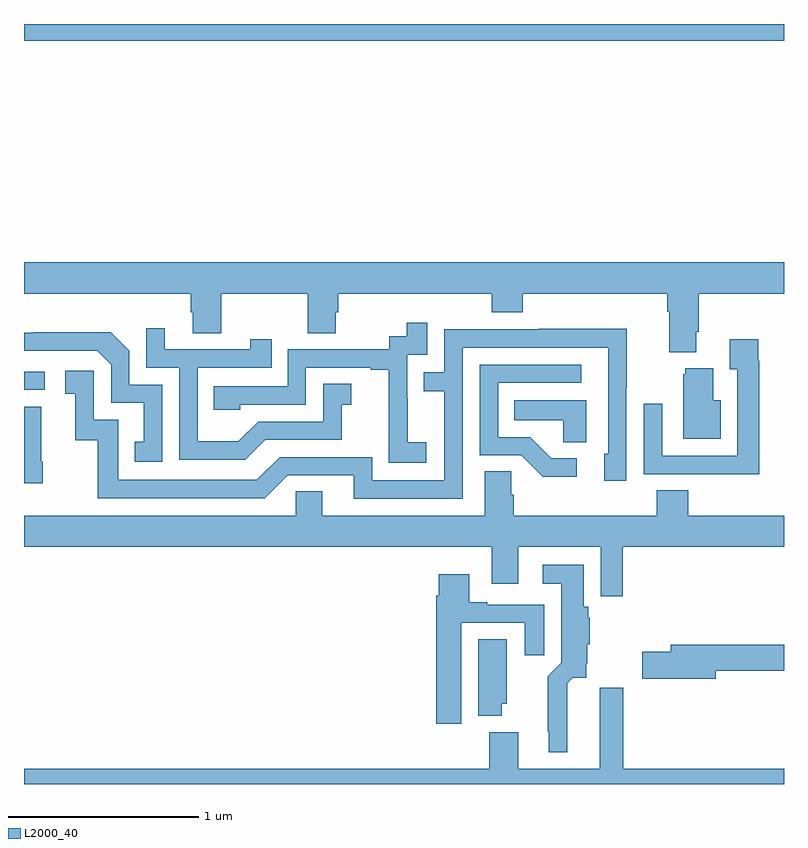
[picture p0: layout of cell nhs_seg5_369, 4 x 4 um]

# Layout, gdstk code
import gdstk
lib = gdstk.Library(unit=1e-6, precision=1e-09)
def R(c, l, rs):  # rectangles x0, y0, x1, y1
    for r in rs: c.add(gdstk.rectangle(r[:2], r[2:], *l))
def P(c, l, *ps):  # polygons
    for p in ps: c.add(gdstk.Polygon(p, *l))
L2000_40 = (2000, 40)

nhs_seg5_369 = lib.new_cell('nhs_seg5_369')
R(nhs_seg5_369, L2000_40, [(133,902.874,133.108,902.97), (133,904.712,137,904.799)])
P(nhs_seg5_369, L2000_40, [(136.537,903.178),(136.55,903.178),(136.55,903.38),(137,903.38),(137,903.544),(133,903.544),(133,903.38),(133.877,903.38),(133.877,903.282),(133.889,903.282),(133.889,903.172),(134.037,903.172),(134.037,903.38),(134.494,903.38),(134.494,903.172),(134.641,903.172),(134.641,903.282),(134.654,903.282),(134.654,903.38),(135.461,903.38),(135.461,903.281),(135.626,903.281),(135.626,903.38),(136.385,903.38),(136.385,903.284),(136.397,903.284),(136.397,903.071),(136.537,903.071)],
  [(135.118,902.599),(135.02,902.599),(135.02,902.828),(135.018,902.828),(135.018,903.057),(135.123,903.057),(135.123,903.226),(135.015,903.226),(135.015,903.156),(134.922,903.156),(134.922,903.087),(134.388,903.087),(134.388,902.892),(133.999,902.892),(133.999,902.769),(134.139,902.769),(134.139,902.796),(134.484,902.796),(134.484,902.991),(134.825,902.991),(134.825,902.979),(134.921,902.979),(134.921,902.695),(134.92,902.695),(134.92,902.489),(135.118,902.489)],
  [(134.269,902.61),(134.673,902.61),(134.673,902.795),(134.722,902.795),(134.722,902.905),(134.574,902.905),(134.574,902.706),(134.232,902.706),(134.128,902.602),(133.914,902.602),(133.914,902.991),(134.303,902.991),(134.303,903.139),(134.192,903.139),(134.192,903.087),(133.741,903.087),(133.741,903.199),(133.644,903.199),(133.644,902.991),(133.818,902.991),(133.818,902.505),(134.164,902.505)],
  [(135.309,903.096),(136.074,903.096),(136.074,902.538),(136.055,902.538),(136.055,902.394),(136.17,902.394),(136.17,902.887),(136.173,902.887),(136.173,903.194),(135.709,903.194),(135.709,903.192),(135.213,903.192),(135.213,902.967),(135.103,902.967),(135.103,902.866),(135.213,902.866),(135.213,902.397),(134.832,902.397),(134.832,902.52),(134.346,902.52),(134.226,902.4),(133.497,902.4),(133.497,902.715),(133.368,902.715),(133.368,902.974),(133.218,902.974),(133.218,902.853),(133.271,902.853),(133.271,902.607),(133.389,902.607),(133.389,902.304),(134.268,902.304),(134.388,902.424),(134.735,902.424),(134.735,902.301),(135.309,902.301)],
  [(133.728,902.901),(133.554,902.901),(133.554,903.078),(133.456,903.176),(133.048,903.176),(133.048,903.174),(133,903.174),(133,903.078),(133.386,903.078),(133.458,903.006),(133.458,902.805),(133.631,902.805),(133.631,902.601),(133.582,902.601),(133.582,902.496),(133.728,902.496)],
  [(136.871,903.026),(136.864,903.026),(136.864,903.139),(136.715,903.139),(136.715,902.983),(136.755,902.983),(136.755,902.526),(136.359,902.526),(136.359,902.8),(136.263,902.8),(136.263,902.43),(136.579,902.43),(136.579,902.429),(136.871,902.429)],
  [(135.91,902.514),(135.775,902.514),(135.664,902.625),(135.495,902.625),(135.495,902.91),(135.934,902.91),(135.934,903.006),(135.399,903.006),(135.399,902.529),(135.618,902.529),(135.731,902.417),(135.91,902.417)],
  [(136.666,902.818),(136.627,902.818),(136.627,902.986),(136.481,902.986),(136.481,902.955),(136.469,902.955),(136.469,902.615),(136.666,902.615)],
  [(135.958,902.818),(135.58,902.818),(135.58,902.714),(135.837,902.714),(135.837,902.599),(135.958,902.599)],
  [(133.098,902.494),(133.09,902.494),(133.09,902.785),(133,902.785),(133,902.382),(133.098,902.382)],
  [(136.151,902.048),(137,902.048),(137,902.212),(136.496,902.212),(136.496,902.345),(136.331,902.345),(136.331,902.212),(135.578,902.212),(135.578,902.321),(135.564,902.321),(135.564,902.444),(135.425,902.444),(135.425,902.212),(134.569,902.212),(134.569,902.339),(134.43,902.339),(134.43,902.212),(133,902.212),(133,902.048),(135.461,902.048),(135.461,901.854),(135.601,901.854),(135.601,902.048),(136.035,902.048),(136.035,901.788),(136.151,901.788)],
  [(135.859,901.328),(135.889,901.359),(135.958,901.359),(135.958,901.429),(135.964,901.435),(135.964,901.534),(135.977,901.534),(135.977,901.674),(135.971,901.674),(135.971,901.731),(135.946,901.731),(135.946,901.954),(135.729,901.954),(135.729,901.853),(135.827,901.853),(135.827,901.436),(135.757,901.366),(135.757,901.075),(135.761,901.075),(135.761,900.965),(135.859,900.965)],
  [(135.301,901.647),(135.635,901.647),(135.635,901.476),(135.739,901.476),(135.739,901.743),(135.439,901.743),(135.439,901.756),(135.343,901.756),(135.343,901.903),(135.182,901.903),(135.182,901.79),(135.17,901.79),(135.17,901.116),(135.301,901.116)],
  [(135.514,901.221),(135.541,901.221),(135.541,901.562),(135.392,901.562),(135.392,901.157),(135.514,901.157)],
  [(136.642,901.396),(137,901.396),(137,901.532),(136.403,901.532),(136.403,901.496),(136.254,901.496),(136.254,901.354),(136.642,901.354)],
  [(137,900.88),(136.154,900.88),(136.154,901.306),(136.031,901.306),(136.031,900.88),(135.601,900.88),(135.601,901.072),(135.449,901.072),(135.449,900.88),(133,900.88),(133,900.799),(137,900.799)])

lib.write_gds('nhs_seg5_369.gds')
